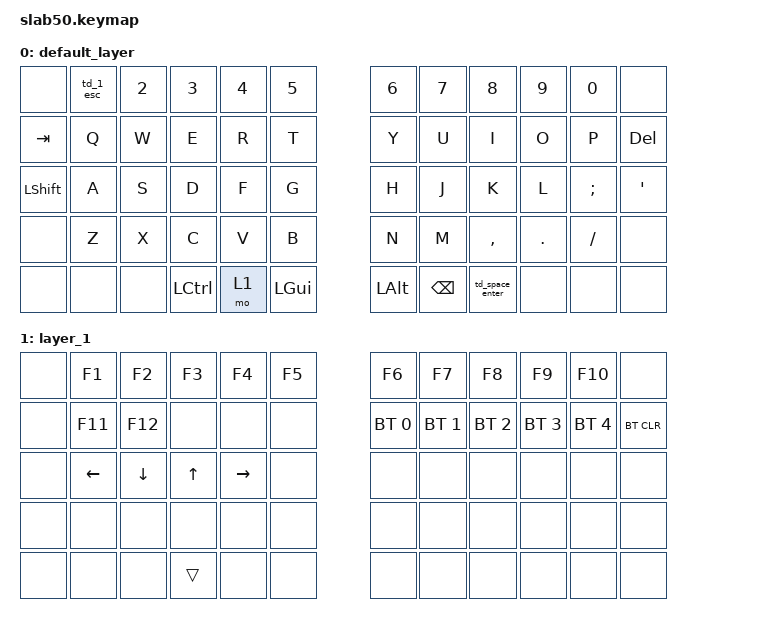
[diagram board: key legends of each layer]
#include <behaviors.dtsi>
#include <dt-bindings/zmk/keys.h>
#include <dt-bindings/zmk/bt.h>

/ {
    behaviors {
        td_1_esc: td_1_esc {
            compatible = "zmk,behavior-tap-dance";
            #binding-cells = <0>;
            tapping-term-ms = <200>;
            bindings = <&kp N1>, <&kp ESC>;
        };

        td_space_enter: td_space_enter {
            compatible = "zmk,behavior-tap-dance";
            #binding-cells = <0>;
            tapping-term-ms = <200>;
            bindings = <&kp SPACE>, <&kp ENTER>;
        };
    };

    keymap {
        compatible = "zmk,keymap";

        default_layer {
            bindings = <
                &none     &td_1_esc &kp N2    &kp N3    &kp N4    &kp N5    &kp N6    &kp N7    &kp N8    &kp N9    &kp N0    &none
                &kp TAB   &kp Q     &kp W     &kp E     &kp R     &kp T     &kp Y     &kp U     &kp I     &kp O     &kp P     &kp DEL
                &kp LSHFT &kp A     &kp S     &kp D     &kp F     &kp G     &kp H     &kp J     &kp K     &kp L     &kp SEMI  &kp SQT
                &none     &kp Z     &kp X     &kp C     &kp V     &kp B     &kp N     &kp M     &kp COMMA &kp DOT   &kp FSLH  &none
                &none     &none     &none     &kp LCTRL &mo 1     &kp LGUI  &kp LALT  &kp BSPC  &td_space_enter &none     &none     &none
            >;
        };

        layer_1 {
            bindings = <
                &none     &kp F1    &kp F2    &kp F3    &kp F4    &kp F5    &kp F6    &kp F7    &kp F8    &kp F9    &kp F10   &none
                &none     &kp F11   &kp F12   &none     &none     &none     &bt BT_SEL 0 &bt BT_SEL 1 &bt BT_SEL 2 &bt BT_SEL 3 &bt BT_SEL 4 &bt BT_CLR
                &none     &kp LEFT  &kp DOWN  &kp UP    &kp RIGHT &none     &none     &none     &none     &none     &none     &none
                &none     &none     &none     &none     &none     &none     &none     &none     &none     &none     &none     &none
                &none     &none     &none     &trans    &none     &none     &none     &none     &none     &none     &none     &none
            >;
        };
    };
};
